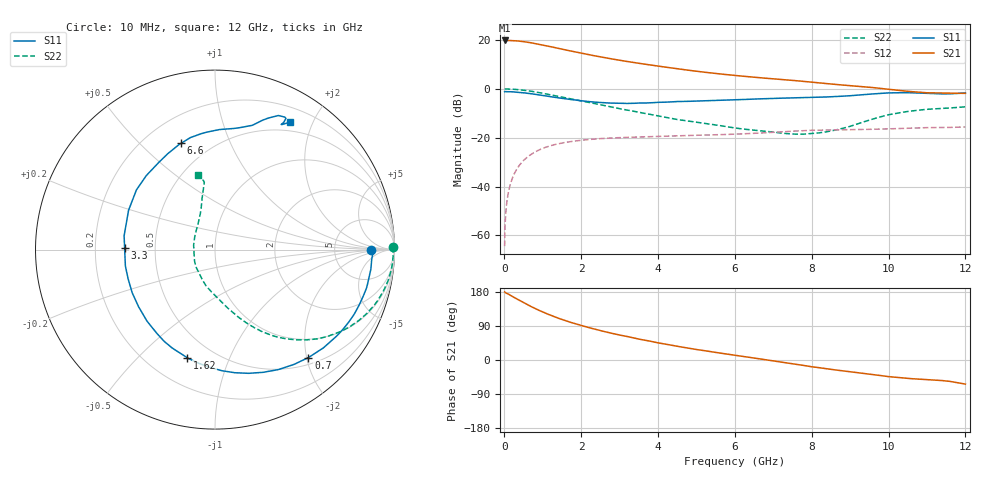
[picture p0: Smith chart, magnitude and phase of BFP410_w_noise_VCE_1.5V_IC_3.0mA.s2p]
! Infineon Technologies  Discrete & RF Semiconductors
! BFP410
! VCE =  1.5 V,  IC =  3.0 mA
! Common Emitter S-Parameters:  Nov 2015
# GHz  S  MA  R  50
!  f  S11  S21  S12  S22
! GHz  MAG  ANG  MAG  ANG  MAG  ANG  MAG  ANG
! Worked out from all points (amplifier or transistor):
!   243 points, 10 MHz to 12 GHz, reference 50 ohm
!   highest |S21| = 19.8 dB at 20 MHz (marker M1)
!   |S21| within 3 dB of that: start of sweep to 1.337 GHz
!   unconditionally stable (mu >= 1): 3.631 GHz to end of sweep
!   at 240 MHz: K = 0.06, MSG = 27.6 dB, |S12| = -35.5 dB
!   at 1.84 GHz: K = 0.48, MSG = 18.2 dB, |S12| = -21.4 dB
!   at 12 GHz: K = 1.11, MAG = 4.9 dB, |S12| = -15.6 dB
!   lowest NFmin = 0.87 dB at 900 MHz
!   S11 on the Smith chart (normalised r, x): 10 MHz: 15, -0; 700 MHz: 0.62, -2.03; 1.62 GHz: 0.36, -0.71; 3.3 GHz: 0.33, +0.01; 6.6 GHz: 0.35, +0.67; 12 GHz: 0.38, +1.68
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0.01  0.8715 -0.1  9.726 179.5  0.0006 74.6  0.9942 0.8
0.02  0.8809 -1.1  9.8 178.8  0.0015 96.2  0.9906 -0.3
0.05  0.8748 -3.6  9.754 176.5  0.0036 85.7  0.9935 -1.7
0.11  0.8745 -7.8  9.786 173.7  0.0078 85.7  0.9918 -4.2
0.2  0.871 -14.2  9.744 168.4  0.014 82.5  0.9856 -7.8
0.34  0.8559 -24.2  9.575 160.5  0.0235 77.2  0.9686 -13.2
0.5  0.8317 -35.4  9.271 151.5  0.034 71.5  0.94 -19.2
0.7  0.7955 -49.1  8.78 141.0  0.0456 64.5  0.8937 -26.2
0.9  0.7559 -62.2  8.208 131.3  0.0558 58.0  0.8409 -32.6
1.1  0.7143 -74.8  7.625 122.4  0.0646 52.3  0.7851 -38.3
1.4  0.6566 -92.6  6.762 110.4  0.0747 44.7  0.7033 -45.7
1.62  0.6215 -104.5  6.211 102.8  0.0807 40.0  0.6497 -50.2
2.02  0.5685 -124.6  5.34 90.7  0.0889 33.0  0.5649 -57.1
2.6  0.5202 -152.5  4.371 75.1  0.0968 24.6  0.4549 -65.9
3.3  0.5037 178.9  3.532 59.9  0.1021 17.7  0.3559 -75.0
4.1  0.5311 152.9  2.855 43.6  0.1073 11.9  0.2701 -86.9
5  0.5626 132.9  2.293 27.7  0.1119 6.8  0.2073 -104.1
6.1  0.5997 114.6  1.85 11.1  0.1188 2.4  0.1545 -126.4
6.6  0.622 107.6  1.704 3.7  0.1238 0.5  0.1399 -140.6
8.2  0.6749 84.5  1.327 -20.4  0.1424 -10.2  0.1256 157.7
10.2  0.8301 63.5  0.943 -45.7  0.1533 -21.3  0.3152 102.6
12  0.8234 59.6  0.808 -63.6  0.1658 -34.1  0.4282 102.9
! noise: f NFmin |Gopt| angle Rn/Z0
0.45  0.92  0.39  6  0.24
0.9  0.87  0.38  20  0.22
1.8  1.07  0.29  53  0.19
2.4  1.11  0.25  58  0.19
5.5  2.12  0.33  -139  0.2
10  3.64  0.68  -55  1.98
